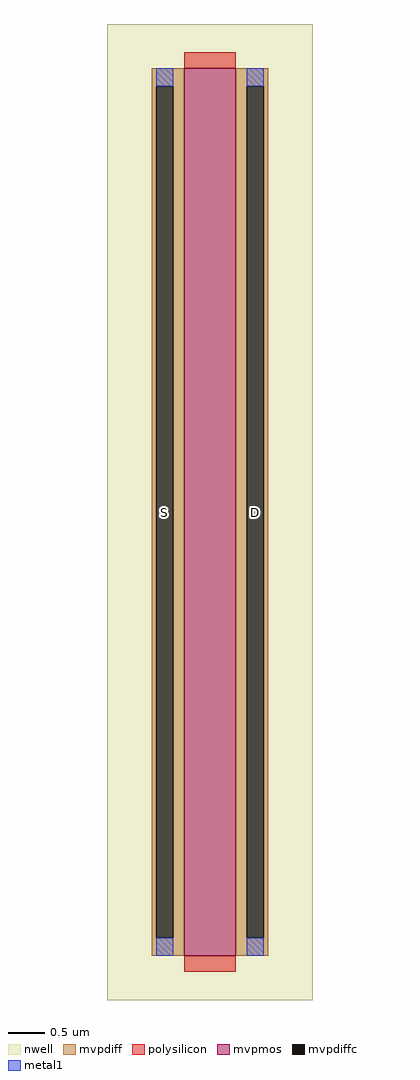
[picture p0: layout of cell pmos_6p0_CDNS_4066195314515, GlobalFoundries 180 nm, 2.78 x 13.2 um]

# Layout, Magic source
magic
tech gf180mcuD
magscale 1 10
<< nwell >>
rect -208 -120 348 2520
<< mvpmos >>
rect 0 0 140 2400
<< mvpdiff >>
rect -88 2351 0 2400
rect -88 49 -75 2351
rect -29 49 0 2351
rect -88 0 0 49
rect 140 2351 228 2400
rect 140 49 169 2351
rect 215 49 228 2351
rect 140 0 228 49
<< mvpdiffc >>
rect -75 49 -29 2351
rect 169 49 215 2351
<< polysilicon >>
rect 0 2400 140 2444
rect 0 -44 140 0
<< metal1 >>
rect -75 2351 -29 2400
rect -75 0 -29 49
rect 169 2351 215 2400
rect 169 0 215 49
<< labels >>
rlabel mvpdiffc 192 1200 192 1200 4 D
rlabel mvpdiffc -52 1200 -52 1200 4 S
<< end >>
